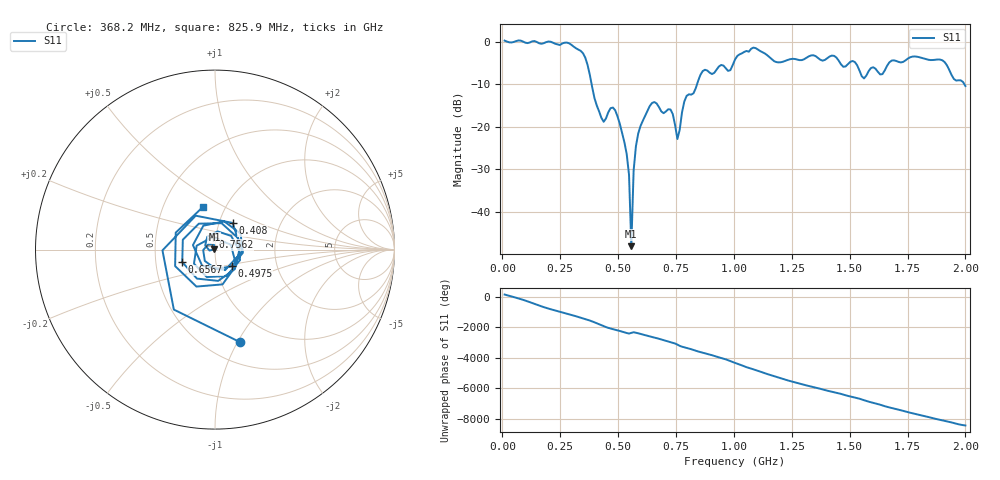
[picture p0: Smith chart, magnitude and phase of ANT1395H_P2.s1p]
!Created with skrf (http://scikit-rf.org).
# Hz S RI R 50.0
!freq ReS11 ImS11
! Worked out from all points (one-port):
!   201 points, 10 MHz to 2 GHz, reference 50 ohm
!   lowest |S11| = -48.0 dB at 557.2 MHz (marker M1), VSWR 1.01, Z = 49.7 + j0.202 ohm
!   |S11| at or under -10 dB: 385.7 MHz to 841.2 MHz (455.4 MHz wide, 74.2 % of centre); 1.995347 GHz to end of sweep
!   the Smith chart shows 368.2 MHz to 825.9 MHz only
!   S11 on the Smith chart (normalised r, x): 368.2 MHz: 0.71, -1.02; 408 MHz: 1.16, +0.36; 497.6 MHz: 1.18, -0.23; 656.8 MHz: 0.69, -0.10; 756.2 MHz: 0.97, +0.14; 825.9 MHz: 0.79, +0.40
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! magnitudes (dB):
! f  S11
! 10 MHz  0.2
! 258.8 MHz  -0.5
! 368.2 MHz  -5.5
! 408 MHz  -15.0
! 437.9 MHz  -18.8
! 467.7 MHz  -15.6
! 497.6 MHz  -17.5
! 507.5 MHz  -19.3
! 547.3 MHz  -31.2
! 557.2 MHz  -48.0
! 567.2 MHz  -30.3
! 577.1 MHz  -24.5
! 597 MHz  -19.8
! 656.8 MHz  -14.2
! 726.4 MHz  -15.9
! 756.2 MHz  -22.9
! 786.1 MHz  -14.1
! 825.9 MHz  -12.1
! 865.7 MHz  -6.9
! 985.1 MHz  -6.7
! 1.005 GHz  -4.2
! 1.085 GHz  -1.4
! 1.254 GHz  -4.1
! 1.502 GHz  -4.8
! 1.562 GHz  -8.7
! 1.751 GHz  -4.0
! 1.901 GHz  -4.4
! 2 GHz  -10.4
